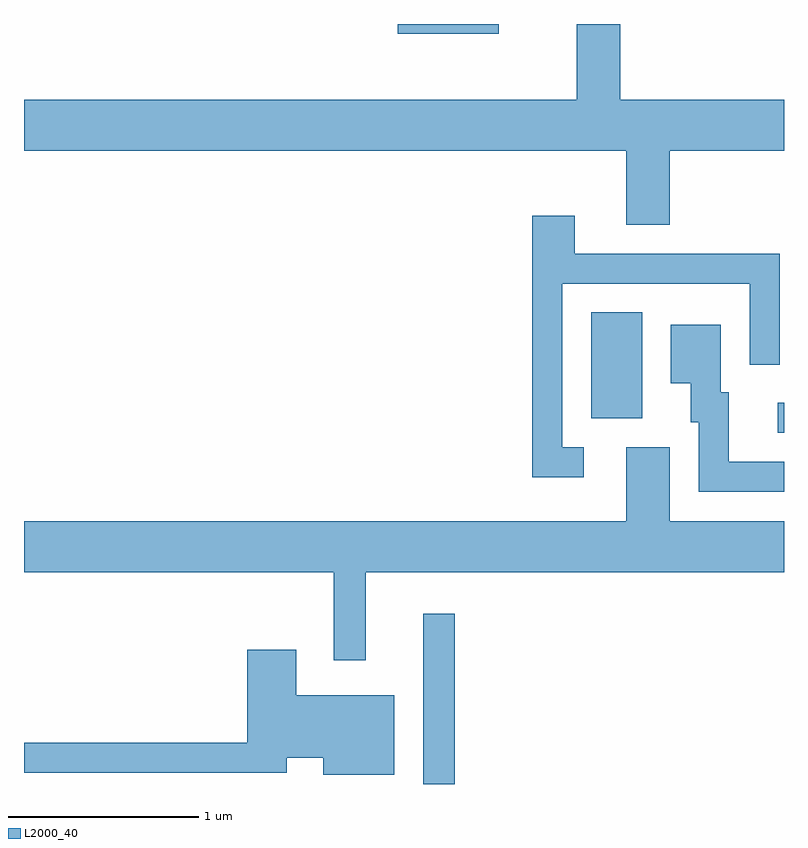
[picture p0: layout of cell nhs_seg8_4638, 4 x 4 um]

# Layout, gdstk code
import gdstk
lib = gdstk.Library(unit=1e-6, precision=1e-09)
def R(c, l, rs):  # rectangles x0, y0, x1, y1
    for r in rs: c.add(gdstk.rectangle(r[:2], r[2:], *l))
def P(c, l, *ps):  # polygons
    for p in ps: c.add(gdstk.Polygon(p, *l))
L2000_40 = (2000, 40)

nhs_seg8_4638 = lib.new_cell('nhs_seg8_4638')
R(nhs_seg8_4638, L2000_40, [(325.711,1906.342,325.879,1907.238), (327.578,1908.191,327.611,1908.349), (326.596,1908.266,326.864,1908.824), (325.578,1910.291,326.109,1910.342)])
P(nhs_seg8_4638, L2000_40, [(327.009,1909.676),(327.611,1909.676),(327.611,1909.944),(326.749,1909.944),(326.749,1910.342),(326.521,1910.342),(326.521,1909.944),(323.611,1909.944),(323.611,1909.676),(326.781,1909.676),(326.781,1909.286),(327.009,1909.286)],
  [(326.558,1908.114),(326.444,1908.114),(326.444,1908.976),(327.431,1908.976),(327.431,1908.548),(327.589,1908.548),(327.589,1909.134),(326.509,1909.134),(326.509,1909.334),(326.286,1909.334),(326.286,1907.956),(326.558,1907.956)],
  [(327.611,1908.039),(327.319,1908.039),(327.319,1908.404),(327.279,1908.404),(327.279,1908.759),(327.016,1908.759),(327.016,1908.451),(327.121,1908.451),(327.121,1908.246),(327.161,1908.246),(327.161,1907.881),(327.611,1907.881)],
  [(325.409,1907.456),(327.611,1907.456),(327.611,1907.724),(327.009,1907.724),(327.009,1908.114),(326.781,1908.114),(326.781,1907.724),(323.611,1907.724),(323.611,1907.456),(325.241,1907.456),(325.241,1906.993),(325.409,1906.993)],
  [(325.559,1906.809),(325.044,1906.809),(325.044,1907.049),(324.786,1907.049),(324.786,1906.559),(323.611,1906.559),(323.611,1906.401),(324.994,1906.401),(324.994,1906.481),(325.186,1906.481),(325.186,1906.391),(325.559,1906.391)])

lib.write_gds('nhs_seg8_4638.gds')
